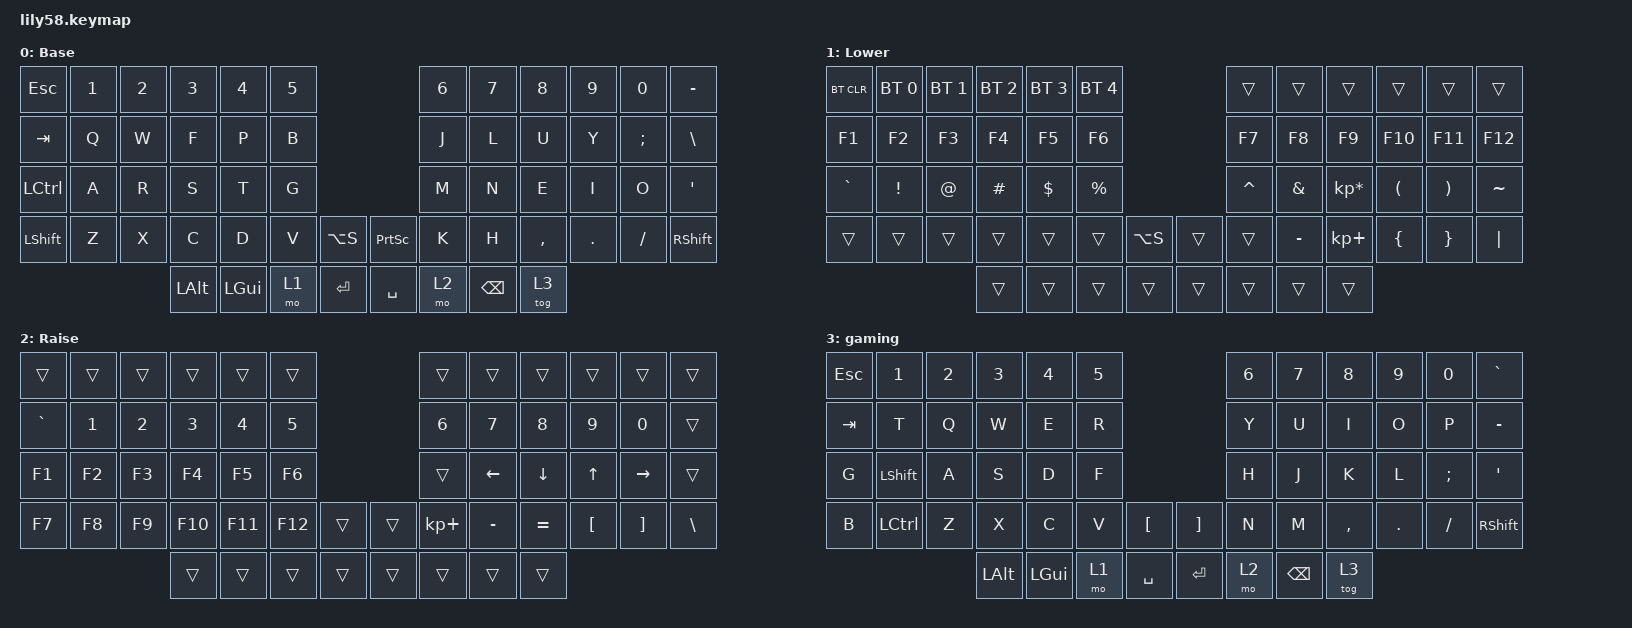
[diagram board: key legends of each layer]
/*
 * Copyright (c) 2020 The ZMK Contributors
 *
 * SPDX-License-Identifier: MIT
 */

#include <behaviors.dtsi>
#include <dt-bindings/zmk/bt.h>
#include <dt-bindings/zmk/keys.h>

/ {
    keymap {
        compatible = "zmk,keymap";

        default_layer {
            // ------------------------------------------------------------------------------------------------------------
            // |  ESC  |  1  |  2  |  3   |  4   |  5   |                   |  6   |  7    |  8    |  9   |   0   |   `   |
            // |  TAB  |  Q  |  W  |  E   |  R   |  T   |                   |  Y   |  U    |  I    |  O   |   P   |   -   |
            // |  CTRL |  A  |  S  |  D   |  F   |  G   |                   |  H   |  J    |  K    |  L   |   ;   |   '   |
            // | SHIFT |  Z  |  X  |  C   |  V   |  B   |   "["  |  |  "]"  |  N   |  M    |  ,    |  .   |   /   | SHIFT |
            //                     | ALT  | GUI  | LOWER|  SPACE |  | ENTER | RAISE| BSPC  | GUI   |

            display-name = "Base";
            bindings = <
&kp ESC    &kp N1  &kp N2  &kp N3    &kp N4    &kp N5                                &kp N6  &kp N7    &kp N8     &kp N9   &kp N0    &kp MINUS
&kp TAB    &kp Q   &kp W   &kp F     &kp P     &kp B                                 &kp J   &kp L     &kp U      &kp Y    &kp SEMI  &kp BSLH
&kp LCTRL  &kp A   &kp R   &kp S     &kp T     &kp G                                 &kp M   &kp N     &kp E      &kp I    &kp O     &kp SQT
&kp LSHFT  &kp Z   &kp X   &kp C     &kp D     &kp V   &kp LA(S)    &kp PRINTSCREEN  &kp K   &kp H     &kp COMMA  &kp DOT  &kp FSLH  &kp RSHFT
                           &kp LALT  &kp LGUI  &mo 1   &kp RET      &kp SPACE        &mo 2   &kp BSPC  &tog 3
            >;
        };

        lower_layer {
            // ------------------------------------------------------------------------------------------------------------
            // | BTCLR | BT1 | BT2 |  BT3 |  BT4 |  BT5 |                   |      |       |       |      |       |       |
            // |  F1   |  F2 |  F3 |  F4  |  F5  |  F6  |                   |  F7  |  F8   |  F9   |  F10 |  F11  |  F12  |
            // |   `   |  !  |  @  |  #   |  $   |  %   |                   |  ^   |  &    |  *    |  (   |   )   |   ~   |
            // |       |     |     |      |      |      |        |  |       |      |  _    |  +    |  {   |   }   |  "|"  |
            //                     |      |      |      |        |  |       |      |       |       |

            display-name = "Lower";
            bindings = <
&bt BT_CLR  &bt BT_SEL 0  &bt BT_SEL 1  &bt BT_SEL 2  &bt BT_SEL 3  &bt BT_SEL 4                       &trans     &trans     &trans           &trans    &trans    &trans
&kp F1      &kp F2        &kp F3        &kp F4        &kp F5        &kp F6                             &kp F7     &kp F8     &kp F9           &kp F10   &kp F11   &kp F12
&kp GRAVE   &kp EXCL      &kp AT        &kp HASH      &kp DOLLAR    &kp PRCNT                          &kp CARET  &kp AMPS   &kp KP_MULTIPLY  &kp LPAR  &kp RPAR  &kp TILDE
&trans      &trans        &trans        &trans        &trans        &trans        &kp LA(S)    &trans  &trans     &kp MINUS  &kp KP_PLUS      &kp LBRC  &kp RBRC  &kp PIPE
                                        &trans        &trans        &trans        &trans       &trans  &trans     &trans     &trans
            >;
        };

        raise_layer {
            // ------------------------------------------------------------------------------------------------------------
            // |       |     |     |      |      |      |                   |      |       |       |      |       |       |
            // |   `   |  1  |  2  |  3   |  4   |  5   |                   |  6   |   7   |   8   |  9   |   0   |       |
            // |   F1  |  F2 |  F3 |  F4  |  F5  |  F6  |                   |      |   <-  |   v   |  ^   |  ->   |       |
            // |   F7  |  F8 |  F9 |  F10 |  F11 |  F12 |        |  |       |  +   |   -   |   =   |  [   |   ]   |   \   |
            //                     |      |      |      |        |  |       |      |       |       |

            display-name = "Raise";
            bindings = <
&trans     &trans  &trans  &trans   &trans   &trans                     &trans       &trans     &trans     &trans    &trans     &trans
&kp GRAVE  &kp N1  &kp N2  &kp N3   &kp N4   &kp N5                     &kp N6       &kp N7     &kp N8     &kp N9    &kp N0     &trans
&kp F1     &kp F2  &kp F3  &kp F4   &kp F5   &kp F6                     &trans       &kp LEFT   &kp DOWN   &kp UP    &kp RIGHT  &trans
&kp F7     &kp F8  &kp F9  &kp F10  &kp F11  &kp F12  &trans    &trans  &kp KP_PLUS  &kp MINUS  &kp EQUAL  &kp LBKT  &kp RBKT   &kp BSLH
                           &trans   &trans   &trans   &trans    &trans  &trans       &trans     &trans
            >;
        };

        gaming {
            bindings = <
&kp ESC  &kp N1     &kp N2  &kp N3    &kp N4    &kp N5                         &kp N6  &kp N7         &kp N8     &kp N9   &kp N0    &kp GRAVE
&kp TAB  &kp T      &kp Q   &kp W     &kp E     &kp R                          &kp Y   &kp U          &kp I      &kp O    &kp P     &kp MINUS
&kp G    &kp LSHFT  &kp A   &kp S     &kp D     &kp F                          &kp H   &kp J          &kp K      &kp L    &kp SEMI  &kp APOS
&kp B    &kp LCTRL  &kp Z   &kp X     &kp C     &kp V   &kp LBKT     &kp RBKT  &kp N   &kp M          &kp COMMA  &kp DOT  &kp FSLH  &kp RSHFT
                            &kp LALT  &kp LGUI  &mo 1   &kp SPACE    &kp RET   &mo 2   &kp BACKSPACE  &tog 3
            >;
        };

        extra_1 { status = "reserved"; };

        extra_2 { status = "reserved"; };

        extra_3 { status = "reserved"; };
    };
};
